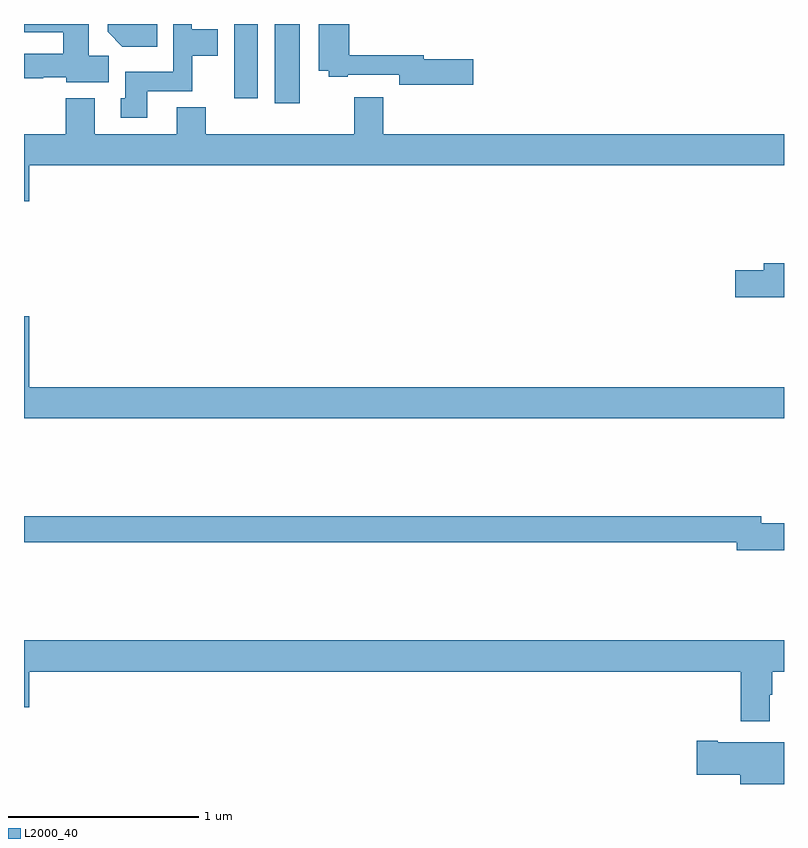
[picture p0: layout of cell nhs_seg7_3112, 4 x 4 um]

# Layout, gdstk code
import gdstk
lib = gdstk.Library(unit=1e-6, precision=1e-09)
def R(c, l, rs):  # rectangles x0, y0, x1, y1
    for r in rs: c.add(gdstk.rectangle(r[:2], r[2:], *l))
def P(c, l, *ps):  # polygons
    for p in ps: c.add(gdstk.Polygon(p, *l))
L2000_40 = (2000, 40)

nhs_seg7_3112 = lib.new_cell('nhs_seg7_3112')
R(nhs_seg7_3112, L2000_40, [(310.319,1027.584,310.45,1028), (310.106,1027.608,310.231,1028)])
P(nhs_seg7_3112, L2000_40, [(309.649,1027.646),(309.885,1027.646),(309.885,1027.832),(310.021,1027.832),(310.021,1027.972),(309.882,1027.972),(309.882,1028),(309.786,1028),(309.786,1027.75),(309.533,1027.75),(309.533,1027.608),(309.509,1027.608),(309.509,1027.506),(309.649,1027.506)],
  [(309.701,1028),(309.44,1028),(309.44,1027.958),(309.518,1027.88),(309.701,1027.88)],
  [(311.365,1027.814),(311.104,1027.814),(311.104,1027.835),(310.712,1027.835),(310.712,1028),(310.55,1028),(310.55,1027.754),(310.605,1027.754),(310.605,1027.722),(310.705,1027.722),(310.705,1027.734),(310.976,1027.734),(310.976,1027.679),(311.365,1027.679)],
  [(309.445,1027.832),(309.34,1027.832),(309.34,1028),(309,1028),(309,1027.956),(309.206,1027.956),(309.206,1027.843),(309,1027.843),(309,1027.714),(309.102,1027.714),(309.102,1027.721),(309.222,1027.721),(309.222,1027.694),(309.445,1027.694)],
  [(309.028,1027.256),(313,1027.256),(313,1027.42),(310.892,1027.42),(310.892,1027.615),(310.739,1027.615),(310.739,1027.42),(309.956,1027.42),(309.956,1027.561),(309.803,1027.561),(309.803,1027.42),(309.373,1027.42),(309.373,1027.609),(309.221,1027.609),(309.221,1027.42),(309,1027.42),(309,1027.068),(309.028,1027.068)],
  [(313,1026.74),(312.893,1026.74),(312.893,1026.704),(312.744,1026.704),(312.744,1026.562),(313,1026.562)],
  [(313,1026.088),(309.028,1026.088),(309.028,1026.463),(309,1026.463),(309,1025.924),(313,1025.924)],
  [(313,1025.372),(312.88,1025.372),(312.88,1025.408),(309,1025.408),(309,1025.272),(312.752,1025.272),(312.752,1025.23),(313,1025.23)],
  [(312.925,1024.469),(312.938,1024.469),(312.938,1024.592),(313,1024.592),(313,1024.756),(309,1024.756),(309,1024.404),(309.028,1024.404),(309.028,1024.592),(312.773,1024.592),(312.773,1024.329),(312.925,1024.329)],
  [(313,1024.219),(312.652,1024.219),(312.652,1024.227),(312.54,1024.227),(312.54,1024.049),(312.77,1024.049),(312.77,1024),(313,1024)])

lib.write_gds('nhs_seg7_3112.gds')
